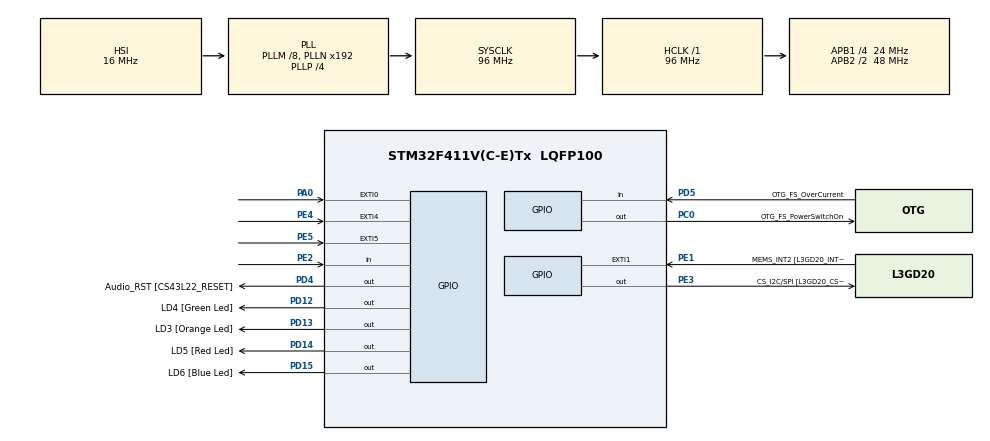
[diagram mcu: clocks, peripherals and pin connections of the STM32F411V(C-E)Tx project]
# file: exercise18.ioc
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FREERTOS.Tasks01=GreenLED,0,128,StartGreenLED,Default,NULL,Dynamic,NULL,NULL;RedLED,0,128,StartRedLED,Default,NULL,Dynamic,NULL,NULL;FlashRate,0,128,StartFlashRate,Default,NULL,Dynamic,NULL,NULL
Mcu.Family=STM32F4
Mcu.Name=STM32F411V(C-E)Tx
Mcu.Package=LQFP100
NVIC.PriorityGroup=NVIC_PRIORITYGROUP_4
NVIC.TIM1_UP_TIM10_IRQn=true\:0\:0\:false\:false\:true\:false\:false\:true
NVIC.TimeBase=TIM1_UP_TIM10_IRQn
NVIC.TimeBaseIP=TIM1
PA0-WKUP.GPIO_ModeDefaultEXTI=GPIO_MODE_EVT_RISING
PA0-WKUP.Signal=GPXTI0
PA10.GPIO_Label=OTG_FS_ID
PA10.Signal=USB_OTG_FS_ID
PA11.GPIO_Label=OTG_FS_DM
PA11.Signal=USB_OTG_FS_DM
PA12.GPIO_Label=OTG_FS_DP
PA12.Signal=USB_OTG_FS_DP
PA13.GPIO_Label=SWDIO
PA13.Signal=SYS_JTMS-SWDIO
PA14.GPIO_Label=SWCLK
PA14.Signal=SYS_JTCK-SWCLK
PA4.GPIO_Label=I2S3_WS [CS43L22_LRCK]
PA4.GPIO_Mode=GPIO_MODE_AF_PP
PA4.GPIO_PuPd=GPIO_NOPULL
PA4.GPIO_Speed=GPIO_SPEED_FREQ_LOW
PA4.Signal=I2S3_WS
PA5.GPIO_Label=SPI1_SCK [L3GD20_SC/SPC]
PA5.Signal=SPI1_SCK
PA6.GPIO_Label=SPI1_MISO [L3GD20_AS0/SDO]
PA6.Signal=SPI1_MISO
PA7.GPIO_Label=SPI1_MOSI [L3GD20_SDA/SDI/SDO]
PA7.Signal=SPI1_MOSI
PA9.GPIO_Label=VBUS_FS
PA9.Signal=USB_OTG_FS_VBUS
PB10.GPIO_Label=CLK_IN [MP45DT02_CLK]
PB10.Signal=I2S2_CK
PB12.Signal=I2S2_WS
PB3.GPIO_Label=SWO
PB3.Signal=SYS_JTDO-SWO
PB6.GPIO_Label=Audio_SCL [CS43L22_SCL]
PB6.GPIO_Mode=GPIO_MODE_AF_OD
PB6.GPIO_PuPd=GPIO_NOPULL
PB6.GPIO_Speed=GPIO_SPEED_FREQ_LOW
PB6.Signal=I2C1_SCL
PB9.GPIO_Label=Audio_SDA [CS43L22_SDA]
PB9.GPIO_Mode=GPIO_MODE_AF_OD
PB9.GPIO_PuPd=GPIO_NOPULL
PB9.GPIO_Speed=GPIO_SPEED_FREQ_LOW
PB9.Signal=I2C1_SDA
PC0.GPIO_Label=OTG_FS_PowerSwitchOn
PC0.PinState=GPIO_PIN_SET
PC0.Signal=GPIO_Output
PC10.GPIO_Label=I2S3_SCK [CS43L22_SCLK]
PC10.GPIO_Mode=GPIO_MODE_AF_PP
PC10.GPIO_PuPd=GPIO_NOPULL
PC10.GPIO_Speed=GPIO_SPEED_FREQ_LOW
PC10.Signal=I2S3_CK
PC12.GPIO_Label=I2S3_SD [CS43L22_SDIN]
PC12.GPIO_Mode=GPIO_MODE_AF_PP
PC12.GPIO_PuPd=GPIO_NOPULL
PC12.GPIO_Speed=GPIO_SPEED_FREQ_LOW
PC12.Signal=I2S3_SD
PC14-OSC32_IN.GPIO_Label=PC14-OSC32_IN
PC14-OSC32_IN.Signal=RCC_OSC32_IN
PC15-OSC32_OUT.GPIO_Label=PC15-OSC32_OUT
PC15-OSC32_OUT.Signal=RCC_OSC32_OUT
PC3.GPIO_Label=PDM_OUT [MP45DT02_DOUT]
PC3.Signal=I2S2_SD
PC7.GPIO_Label=I2S3_MCK [CS43L22_MCLK]
PC7.GPIO_Mode=GPIO_MODE_AF_PP
PC7.GPIO_PuPd=GPIO_NOPULL
PC7.GPIO_Speed=GPIO_SPEED_FREQ_LOW
PC7.Signal=I2S3_MCK
PD12.GPIO_Label=LD4 [Green Led]
PD12.GPIO_PuPd=GPIO_NOPULL
PD12.GPIO_Speed=GPIO_SPEED_FREQ_LOW
PD12.Signal=GPIO_Output
PD13.GPIO_Label=LD3 [Orange Led]
PD13.GPIO_PuPd=GPIO_NOPULL
PD13.GPIO_Speed=GPIO_SPEED_FREQ_LOW
PD13.Signal=GPIO_Output
PD14.GPIO_Label=LD5 [Red Led]
PD14.GPIO_PuPd=GPIO_NOPULL
PD14.GPIO_Speed=GPIO_SPEED_FREQ_LOW
PD14.Signal=GPIO_Output
PD15.GPIO_Label=LD6 [Blue Led]
PD15.GPIO_PuPd=GPIO_NOPULL
PD15.GPIO_Speed=GPIO_SPEED_FREQ_LOW
PD15.Signal=GPIO_Output
PD4.GPIO_Label=Audio_RST [CS43L22_RESET]
PD4.Signal=GPIO_Output
PD5.GPIO_Label=OTG_FS_OverCurrent
PD5.Signal=GPIO_Input
PE1.GPIO_Label=MEMS_INT2 [L3GD20_INT2]
PE1.GPIO_ModeDefaultEXTI=GPIO_MODE_EVT_RISING
PE1.Signal=GPXTI1
PE2.Signal=GPIO_Input
PE3.GPIO_Label=CS_I2C/SPI [L3GD20_CS_I2C/SPI]
PE3.Signal=GPIO_Output
PE4.GPIO_ModeDefaultEXTI=GPIO_MODE_EVT_RISING
PE4.Signal=GPXTI4
PE5.GPIO_ModeDefaultEXTI=GPIO_MODE_EVT_RISING
PE5.Signal=GPXTI5
PH0\ -\ OSC_IN.GPIO_Label=PH0-OSC_IN
PH0\ -\ OSC_IN.Signal=RCC_OSC_IN
PH1\ -\ OSC_OUT.GPIO_Label=PH1-OSC_OUT
PH1\ -\ OSC_OUT.Signal=RCC_OSC_OUT
ProjectManager.HeapSize=0x200
ProjectManager.StackSize=0x400
ProjectManager.TargetToolchain=STM32CubeIDE
RCC.48MHZClocksFreq_Value=48000000
RCC.AHBFreq_Value=96000000
RCC.APB1CLKDivider=RCC_HCLK_DIV4
RCC.APB1Freq_Value=24000000
RCC.APB1TimFreq_Value=48000000
RCC.APB2CLKDivider=RCC_HCLK_DIV2
RCC.APB2Freq_Value=48000000
RCC.APB2TimFreq_Value=96000000
RCC.CortexFreq_Value=96000000
RCC.HCLKFreq_Value=96000000
RCC.HSE_VALUE=8000000
RCC.HSI_VALUE=16000000
RCC.LSE_VALUE=32768
RCC.PLLI2SM=5
RCC.PLLI2SN=200
RCC.PLLM=8
RCC.PLLP=RCC_PLLP_DIV4
RCC.PLLQ=8
RCC.SYSCLKFreq_VALUE=96000000
RCC.SYSCLKSource=RCC_SYSCLKSOURCE_PLLCLK
RCC.VCOOutputFreq_Value=384000000
VP_FREERTOS_VS_CMSIS_V1.Mode=CMSIS_V1
VP_SYS_VS_tim1.Mode=TIM1
board=STM32F411E-DISCO

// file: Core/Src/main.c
/* USER CODE BEGIN Header */
/**
  ******************************************************************************
  * @file           : main.c
  * @brief          : Main program body
  ******************************************************************************
  * @attention
  *
  * <h2><center>&copy; Copyright (c) 2021 STMicroelectronics.
  * All rights reserved.</center></h2>
  *
  * This software component is licensed by ST under BSD 3-Clause license,
  * the "License"; You may not use this file except in compliance with the
  * License. You may obtain a copy of the License at:
  *                        opensource.org/licenses/BSD-3-Clause
  *
  ******************************************************************************
  */
/* USER CODE END Header */

#include "main.h"
#include "cmsis_os.h"

/* USER CODE BEGIN Includes */
#include "CriticalCode.h"
/* USER CODE END Includes */

/* USER CODE BEGIN PD */
#define RED GPIO_PIN_14
#define GREEN GPIO_PIN_12
#define BLUE GPIO_PIN_15
/* USER CODE END PD */

osThreadId GreenLEDHandle;
osThreadId RedLEDHandle;
osThreadId FlashRateHandle;

void SystemClock_Config(void);
static void MX_GPIO_Init(void);
void StartGreenLED(void const * argument);
void StartRedLED(void const * argument);
void StartFlashRate(void const * argument);

int main(void)
{

  /* MCU Configuration--------------------------------------------------------*/

  /* Reset of all peripherals, Initializes the Flash interface and the Systick. */
  HAL_Init();

  /* Configure the system clock */
  SystemClock_Config();

  /* USER CODE BEGIN SysInit */
  InitSem();
  /* USER CODE END SysInit */

  /* Initialize all configured peripherals */
  MX_GPIO_Init();

  /* Create the thread(s) */
  /* definition and creation of GreenLED */
  osThreadDef(GreenLED, StartGreenLED, osPriorityNormal, 0, 128);
  GreenLEDHandle = osThreadCreate(osThread(GreenLED), NULL);

  /* definition and creation of RedLED */
  osThreadDef(RedLED, StartRedLED, osPriorityNormal, 0, 128);
  RedLEDHandle = osThreadCreate(osThread(RedLED), NULL);

  /* definition and creation of FlashRate */
  osThreadDef(FlashRate, StartFlashRate, osPriorityNormal, 0, 128);
  FlashRateHandle = osThreadCreate(osThread(FlashRate), NULL);

  /* Start scheduler */
  osKernelStart();

  /* We should never get here as control is now taken by the scheduler */

  /* Infinite loop */
  while (1)
  {

  }
}

void SystemClock_Config(void)
{
  RCC_OscInitTypeDef RCC_OscInitStruct = {0};
  RCC_ClkInitTypeDef RCC_ClkInitStruct = {0};

  /** Configure the main internal regulator output voltage
  */
  __HAL_RCC_PWR_CLK_ENABLE();
  __HAL_PWR_VOLTAGESCALING_CONFIG(PWR_REGULATOR_VOLTAGE_SCALE1);
  /** Initializes the CPU, AHB and APB busses clocks
  */
  RCC_OscInitStruct.OscillatorType = RCC_OSCILLATORTYPE_HSI;
  RCC_OscInitStruct.HSIState = RCC_HSI_ON;
  RCC_OscInitStruct.HSICalibrationValue = RCC_HSICALIBRATION_DEFAULT;
  RCC_OscInitStruct.PLL.PLLState = RCC_PLL_ON;
  RCC_OscInitStruct.PLL.PLLSource = RCC_PLLSOURCE_HSI;
  RCC_OscInitStruct.PLL.PLLM = 8;
  RCC_OscInitStruct.PLL.PLLN = 192;
  RCC_OscInitStruct.PLL.PLLP = RCC_PLLP_DIV4;
  RCC_OscInitStruct.PLL.PLLQ = 8;
  if (HAL_RCC_OscConfig(&RCC_OscInitStruct) != HAL_OK)
  {
    Error_Handler();
  }
  /** Initializes the CPU, AHB and APB busses clocks
  */
  RCC_ClkInitStruct.ClockType = RCC_CLOCKTYPE_HCLK|RCC_CLOCKTYPE_SYSCLK
                              |RCC_CLOCKTYPE_PCLK1|RCC_CLOCKTYPE_PCLK2;
  RCC_ClkInitStruct.SYSCLKSource = RCC_SYSCLKSOURCE_PLLCLK;
  RCC_ClkInitStruct.AHBCLKDivider = RCC_SYSCLK_DIV1;
  RCC_ClkInitStruct.APB1CLKDivider = RCC_HCLK_DIV4;
  RCC_ClkInitStruct.APB2CLKDivider = RCC_HCLK_DIV2;

  if (HAL_RCC_ClockConfig(&RCC_ClkInitStruct, FLASH_LATENCY_3) != HAL_OK)
  {
    Error_Handler();
  }
}

static void MX_GPIO_Init(void)
{
  GPIO_InitTypeDef GPIO_InitStruct = {0};

  /* GPIO Ports Clock Enable */
  __HAL_RCC_GPIOE_CLK_ENABLE();
  __HAL_RCC_GPIOC_CLK_ENABLE();
  __HAL_RCC_GPIOH_CLK_ENABLE();
  __HAL_RCC_GPIOA_CLK_ENABLE();
  __HAL_RCC_GPIOB_CLK_ENABLE();
  __HAL_RCC_GPIOD_CLK_ENABLE();

  /*Configure GPIO pin Output Level */
  HAL_GPIO_WritePin(CS_I2C_SPI_GPIO_Port, CS_I2C_SPI_Pin, GPIO_PIN_RESET);

  /*Configure GPIO pin Output Level */
  HAL_GPIO_WritePin(OTG_FS_PowerSwitchOn_GPIO_Port, OTG_FS_PowerSwitchOn_Pin, GPIO_PIN_SET);

  /*Configure GPIO pin Output Level */
  HAL_GPIO_WritePin(GPIOD, LD4_Pin|LD3_Pin|LD5_Pin|LD6_Pin
                          |Audio_RST_Pin, GPIO_PIN_RESET);

  /*Configure GPIO pin : PE2 */
  GPIO_InitStruct.Pin = GPIO_PIN_2;
  GPIO_InitStruct.Mode = GPIO_MODE_INPUT;
  GPIO_InitStruct.Pull = GPIO_NOPULL;
  HAL_GPIO_Init(GPIOE, &GPIO_InitStruct);

  /*Configure GPIO pin : CS_I2C_SPI_Pin */
  GPIO_InitStruct.Pin = CS_I2C_SPI_Pin;
  GPIO_InitStruct.Mode = GPIO_MODE_OUTPUT_PP;
  GPIO_InitStruct.Pull = GPIO_NOPULL;
  GPIO_InitStruct.Speed = GPIO_SPEED_FREQ_LOW;
  HAL_GPIO_Init(CS_I2C_SPI_GPIO_Port, &GPIO_InitStruct);

  /*Configure GPIO pins : PE4 PE5 MEMS_INT2_Pin */
  GPIO_InitStruct.Pin = GPIO_PIN_4|GPIO_PIN_5|MEMS_INT2_Pin;
  GPIO_InitStruct.Mode = GPIO_MODE_EVT_RISING;
  GPIO_InitStruct.Pull = GPIO_NOPULL;
  HAL_GPIO_Init(GPIOE, &GPIO_InitStruct);

  /*Configure GPIO pin : OTG_FS_PowerSwitchOn_Pin */
  GPIO_InitStruct.Pin = OTG_FS_PowerSwitchOn_Pin;
  GPIO_InitStruct.Mode = GPIO_MODE_OUTPUT_PP;
  GPIO_InitStruct.Pull = GPIO_NOPULL;
  GPIO_InitStruct.Speed = GPIO_SPEED_FREQ_LOW;
  HAL_GPIO_Init(OTG_FS_PowerSwitchOn_GPIO_Port, &GPIO_InitStruct);

  /*Configure GPIO pin : PDM_OUT_Pin */
  GPIO_InitStruct.Pin = PDM_OUT_Pin;
  GPIO_InitStruct.Mode = GPIO_MODE_AF_PP;
  GPIO_InitStruct.Pull = GPIO_NOPULL;
  GPIO_InitStruct.Speed = GPIO_SPEED_FREQ_LOW;
  GPIO_InitStruct.Alternate = GPIO_AF5_SPI2;
  HAL_GPIO_Init(PDM_OUT_GPIO_Port, &GPIO_InitStruct);

  /*Configure GPIO pin : PA0 */
  GPIO_InitStruct.Pin = GPIO_PIN_0;
  GPIO_InitStruct.Mode = GPIO_MODE_EVT_RISING;
  GPIO_InitStruct.Pull = GPIO_NOPULL;
  HAL_GPIO_Init(GPIOA, &GPIO_InitStruct);

  /*Configure GPIO pin : I2S3_WS_Pin */
  GPIO_InitStruct.Pin = I2S3_WS_Pin;
  GPIO_InitStruct.Mode = GPIO_MODE_AF_PP;
  GPIO_InitStruct.Pull = GPIO_NOPULL;
  GPIO_InitStruct.Speed = GPIO_SPEED_FREQ_LOW;
  GPIO_InitStruct.Alternate = GPIO_AF6_SPI3;
  HAL_GPIO_Init(I2S3_WS_GPIO_Port, &GPIO_InitStruct);

  /*Configure GPIO pins : SPI1_SCK_Pin SPI1_MISO_Pin SPI1_MOSI_Pin */
  GPIO_InitStruct.Pin = SPI1_SCK_Pin|SPI1_MISO_Pin|SPI1_MOSI_Pin;
  GPIO_InitStruct.Mode = GPIO_MODE_AF_PP;
  GPIO_InitStruct.Pull = GPIO_NOPULL;
  GPIO_InitStruct.Speed = GPIO_SPEED_FREQ_VERY_HIGH;
  GPIO_InitStruct.Alternate = GPIO_AF5_SPI1;
  HAL_GPIO_Init(GPIOA, &GPIO_InitStruct);

  /*Configure GPIO pins : CLK_IN_Pin PB12 */
  GPIO_InitStruct.Pin = CLK_IN_Pin|GPIO_PIN_12;
  GPIO_InitStruct.Mode = GPIO_MODE_AF_PP;
  GPIO_InitStruct.Pull = GPIO_NOPULL;
  GPIO_InitStruct.Speed = GPIO_SPEED_FREQ_LOW;
  GPIO_InitStruct.Alternate = GPIO_AF5_SPI2;
  HAL_GPIO_Init(GPIOB, &GPIO_InitStruct);

  /*Configure GPIO pins : LD4_Pin LD3_Pin LD5_Pin LD6_Pin
                           Audio_RST_Pin */
  GPIO_InitStruct.Pin = LD4_Pin|LD3_Pin|LD5_Pin|LD6_Pin
                          |Audio_RST_Pin;
  GPIO_InitStruct.Mode = GPIO_MODE_OUTPUT_PP;
  GPIO_InitStruct.Pull = GPIO_NOPULL;
  GPIO_InitStruct.Speed = GPIO_SPEED_FREQ_LOW;
  HAL_GPIO_Init(GPIOD, &GPIO_InitStruct);

  /*Configure GPIO pins : I2S3_MCK_Pin I2S3_SCK_Pin I2S3_SD_Pin */
  GPIO_InitStruct.Pin = I2S3_MCK_Pin|I2S3_SCK_Pin|I2S3_SD_Pin;
  GPIO_InitStruct.Mode = GPIO_MODE_AF_PP;
  GPIO_InitStruct.Pull = GPIO_NOPULL;
  GPIO_InitStruct.Speed = GPIO_SPEED_FREQ_LOW;
  GPIO_InitStruct.Alternate = GPIO_AF6_SPI3;
  HAL_GPIO_Init(GPIOC, &GPIO_InitStruct);

  /*Configure GPIO pin : VBUS_FS_Pin */
  GPIO_InitStruct.Pin = VBUS_FS_Pin;
  GPIO_InitStruct.Mode = GPIO_MODE_INPUT;
  GPIO_InitStruct.Pull = GPIO_NOPULL;
  HAL_GPIO_Init(VBUS_FS_GPIO_Port, &GPIO_InitStruct);

  /*Configure GPIO pins : OTG_FS_ID_Pin OTG_FS_DM_Pin OTG_FS_DP_Pin */
  GPIO_InitStruct.Pin = OTG_FS_ID_Pin|OTG_FS_DM_Pin|OTG_FS_DP_Pin;
  GPIO_InitStruct.Mode = GPIO_MODE_AF_PP;
  GPIO_InitStruct.Pull = GPIO_NOPULL;
  GPIO_InitStruct.Speed = GPIO_SPEED_FREQ_VERY_HIGH;
  GPIO_InitStruct.Alternate = GPIO_AF10_OTG_FS;
  HAL_GPIO_Init(GPIOA, &GPIO_InitStruct);

  /*Configure GPIO pin : OTG_FS_OverCurrent_Pin */
  GPIO_InitStruct.Pin = OTG_FS_OverCurrent_Pin;
  GPIO_InitStruct.Mode = GPIO_MODE_INPUT;
  GPIO_InitStruct.Pull = GPIO_NOPULL;
  HAL_GPIO_Init(OTG_FS_OverCurrent_GPIO_Port, &GPIO_InitStruct);

  /*Configure GPIO pins : Audio_SCL_Pin Audio_SDA_Pin */
  GPIO_InitStruct.Pin = Audio_SCL_Pin|Audio_SDA_Pin;
  GPIO_InitStruct.Mode = GPIO_MODE_AF_OD;
  GPIO_InitStruct.Pull = GPIO_PULLUP;
  GPIO_InitStruct.Speed = GPIO_SPEED_FREQ_LOW;
  GPIO_InitStruct.Alternate = GPIO_AF4_I2C1;
  HAL_GPIO_Init(GPIOB, &GPIO_InitStruct);

}

void StartGreenLED(void const * argument)
{
  /* USER CODE BEGIN 5 */
  int flash_rate;
  /* Infinite loop */
  for(;;)
  {
    flash_rate = GetGreenRate();
    for(int i = 0; i < 2*10*flash_rate; i++){
    	HAL_GPIO_TogglePin(GPIOD, GREEN);
    	osDelay(500/flash_rate);
    }
  }
  /* USER CODE END 5 */
}

void StartRedLED(void const * argument)
{
  /* USER CODE BEGIN StartRedLED */
  /* Infinite loop */
  int red_flash_rate;
  /* Infinite loop */
  for(;;)
  {
	red_flash_rate = GetRedRate();
	for(int i = 0; i < 2*6*red_flash_rate; i++){
		HAL_GPIO_TogglePin(GPIOD, RED);
		osDelay(500/red_flash_rate);
	}
  }
  /* USER CODE END StartRedLED */
}

void StartFlashRate(void const * argument)
{
  /* USER CODE BEGIN StartFlashRate */
  /* Infinite loop */
  for(;;)
  {
    osDelay(8000);
    SetGreenRate(1);
    SetRedRate(10);
    osDelay(8000);
    SetGreenRate(10);
    SetRedRate(1);
  }
  /* USER CODE END StartFlashRate */
}

void HAL_TIM_PeriodElapsedCallback(TIM_HandleTypeDef *htim)
{
  if (htim->Instance == TIM1) {
    HAL_IncTick();
  }
}

void Error_Handler(void)
{
}

/************************ (C) COPYRIGHT STMicroelectronics *****END OF FILE****/
